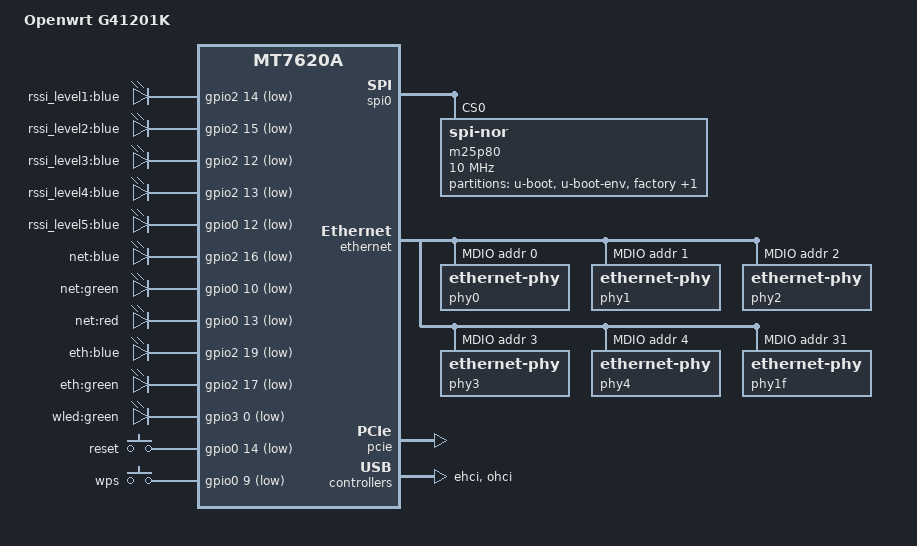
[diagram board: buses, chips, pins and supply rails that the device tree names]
/dts-v1/;

#include "mt7620a.dtsi"
#include <dt-bindings/input/input.h>
#include <dt-bindings/gpio/gpio.h>

/ {
	compatible = "ralink,mt7620a-eval-board", "ralink,mt7620a-soc";
	model = "Openwrt G41201K";

	gpio-leds {
                compatible = "gpio-leds";

                rssi_level1 {
                        label = "rssi_level1:blue";
                        gpios = <&gpio2 14 GPIO_ACTIVE_LOW>;
                };

                rssi_level2 {
                        label = "rssi_level2:blue";
                        gpios = <&gpio2 15 GPIO_ACTIVE_LOW>;
                };

                rssi_level3 {
                        label = "rssi_level3:blue";
                        gpios = <&gpio2 12 GPIO_ACTIVE_LOW>;
                };

                rssi_level4 {
                        label = "rssi_level4:blue";
                        gpios = <&gpio2 13 GPIO_ACTIVE_LOW>;
                };

                rssi_level5 {
                        label = "rssi_level5:blue";
                        gpios = <&gpio0 12 GPIO_ACTIVE_LOW>;
                };

                net_blue {
                        label = "net:blue";
                        gpios = <&gpio2 16 GPIO_ACTIVE_LOW>;
                };

                net_green {
                        label = "net:green";
                        gpios = <&gpio0 10 GPIO_ACTIVE_LOW>;
                };

                net_red {
                        label = "net:red";
                        gpios = <&gpio0 13 GPIO_ACTIVE_LOW>;
                };

                eth_blue {
                        label = "eth:blue";
                        gpios = <&gpio2 19 GPIO_ACTIVE_LOW>;
                };

                eth_green {
                        label = "eth:green";
                        gpios = <&gpio2 17 GPIO_ACTIVE_LOW>;
                };

                wled {
                        label = "wled:green";
                        gpios = <&gpio3 0 GPIO_ACTIVE_LOW>;
                };
	};

	gpio-keys-polled {
                compatible = "gpio-keys-polled";
                #address-cells = <1>;
                #size-cells = <0>;
                poll-interval = <10>;

                reset {
                        label = "reset";
                        gpios = <&gpio0 14 GPIO_ACTIVE_LOW>;
                        linux,code = <KEY_RESTART>;
                };
                wps {
                        label = "wps";
                        gpios = <&gpio0 9 GPIO_ACTIVE_LOW>;
                        linux,code = <KEY_WPS_BUTTON>;
                };
        };
};

&spi0 {
	status = "okay";

	m25p80@0 {
		#address-cells = <1>;
		#size-cells = <1>;
		compatible = "jedec,spi-nor";
		reg = <0>;
		spi-max-frequency = <10000000>;

		partition@0 {
			label = "u-boot";
			reg = <0x0 0x30000>;
		};

		partition@30000 {
			label = "u-boot-env";
			reg = <0x30000 0x10000>;
		};

		factory: partition@40000 {
			label = "factory";
			reg = <0x40000 0x10000>;
		};

		partition@50000 {
			label = "firmware";
			reg = <0x50000 0xfb0000>;
		};
	};
};

&pinctrl {
	state_default: pinctrl0 {
		gpio {
			ralink,group = "i2c", "uartf", "nd_sd", "wled";
			ralink,function = "gpio";
		};
	};
};

&ethernet {
	status = "okay";
	pinctrl-names = "default";
	pinctrl-0 = <&rgmii1_pins &rgmii2_pins &mdio_pins>;
	mediatek,portmap = "llllw";

	port@5 {
		status = "okay";
		mediatek,fixed-link = <1000 1 1 1>;
		phy-mode = "rgmii";
	};

	mdio-bus {
		status = "okay";

		phy0: ethernet-phy@0 {
			reg = <0>;
			phy-mode = "rgmii";
		};

		phy1: ethernet-phy@1 {
			reg = <1>;
			phy-mode = "rgmii";
		};

		phy2: ethernet-phy@2 {
			reg = <2>;
			phy-mode = "rgmii";
		};

		phy3: ethernet-phy@3 {
			reg = <3>;
			phy-mode = "rgmii";
		};

		phy4: ethernet-phy@4 {
			reg = <4>;
			phy-mode = "rgmii";
		};

		phy1f: ethernet-phy@1f {
			reg = <0x1f>;
			phy-mode = "rgmii";
		};
	};
};

&gsw {
	mediatek,port4 = "gmac";
	mediatek,mt7530 = <1>;
};

&pcie {
	status = "okay";
};

&ehci {
	status = "okay";
};

&ohci {
	status = "okay";
};

&gpio1 {
	status = "okay";
};

&gpio2 {
	status = "okay";
};

&gpio3 {
	status = "okay";
};
